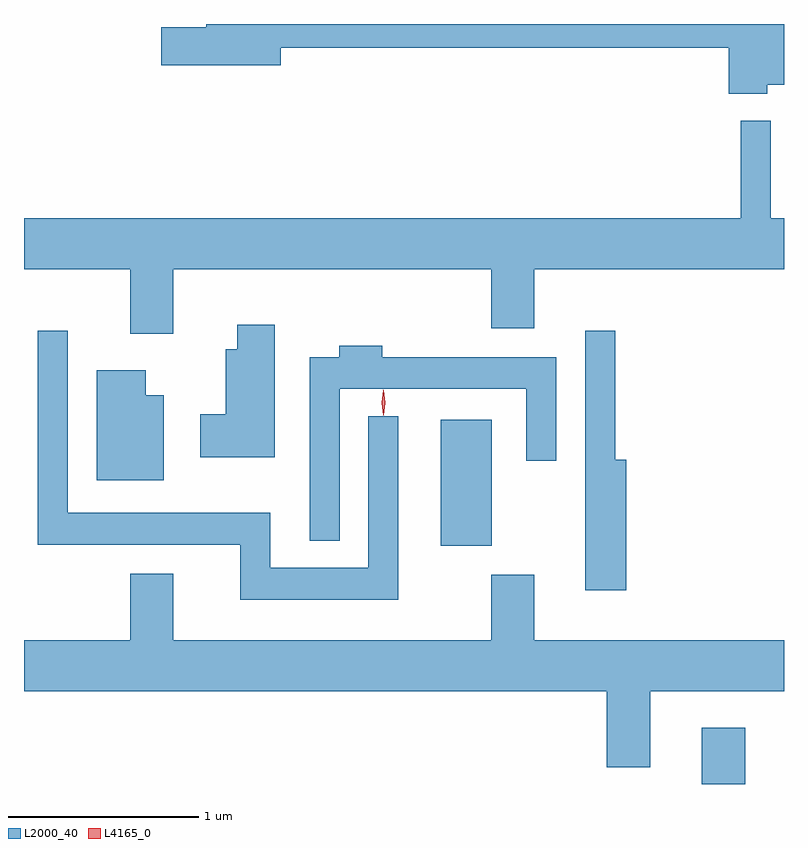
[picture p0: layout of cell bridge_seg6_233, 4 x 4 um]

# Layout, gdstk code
import gdstk
lib = gdstk.Library(unit=1e-6, precision=1e-09)
def R(c, l, rs):  # rectangles x0, y0, x1, y1
    for r in rs: c.add(gdstk.rectangle(r[:2], r[2:], *l))
def P(c, l, *ps):  # polygons
    for p in ps: c.add(gdstk.Polygon(p, *l))
L2000_40 = (2000, 40)
L4165_0 = (4165, 0)

bridge_seg6_233 = lib.new_cell('bridge_seg6_233')
R(bridge_seg6_233, L2000_40, [(1145.331,1549.547,1145.559,1549.844), (1143.956,1550.801,1144.224,1551.464)])
P(bridge_seg6_233, L2000_40, [(1145.674,1553.226),(1145.763,1553.226),(1145.763,1553.547),(1142.721,1553.547),(1142.721,1553.529),(1142.486,1553.529),(1142.486,1553.331),(1143.114,1553.331),(1143.114,1553.421),(1145.471,1553.421),(1145.471,1553.181),(1145.674,1553.181)],
  [(1142.549,1552.256),(1144.221,1552.256),(1144.221,1551.946),(1144.449,1551.946),(1144.449,1552.256),(1145.763,1552.256),(1145.763,1552.524),(1145.694,1552.524),(1145.694,1553.038),(1145.536,1553.038),(1145.536,1552.524),(1141.763,1552.524),(1141.763,1552.256),(1142.321,1552.256),(1142.321,1551.916),(1142.549,1551.916)],
  [(1143.084,1551.964),(1142.886,1551.964),(1142.886,1551.834),(1142.826,1551.834),(1142.826,1551.494),(1142.691,1551.494),(1142.691,1551.266),(1143.084,1551.266)],
  [(1143.734,1551.483),(1143.576,1551.483),(1143.576,1550.684),(1143.059,1550.684),(1143.059,1550.974),(1141.994,1550.974),(1141.994,1551.933),(1141.836,1551.933),(1141.836,1550.806),(1142.901,1550.806),(1142.901,1550.516),(1143.734,1550.516)],
  [(1144.934,1551.254),(1144.874,1551.254),(1144.874,1551.933),(1144.716,1551.933),(1144.716,1550.566),(1144.934,1550.566)],
  [(1143.424,1551.626),(1144.406,1551.626),(1144.406,1551.248),(1144.564,1551.248),(1144.564,1551.794),(1143.649,1551.794),(1143.649,1551.854),(1143.421,1551.854),(1143.421,1551.794),(1143.266,1551.794),(1143.266,1550.828),(1143.424,1550.828)],
  [(1142.499,1551.594),(1142.404,1551.594),(1142.404,1551.724),(1142.146,1551.724),(1142.146,1551.146),(1142.499,1551.146)],
  [(1144.831,1549.636),(1145.059,1549.636),(1145.059,1550.036),(1145.763,1550.036),(1145.763,1550.304),(1144.449,1550.304),(1144.449,1550.649),(1144.221,1550.649),(1144.221,1550.304),(1142.549,1550.304),(1142.549,1550.654),(1142.321,1550.654),(1142.321,1550.304),(1141.763,1550.304),(1141.763,1550.036),(1144.831,1550.036)])
P(bridge_seg6_233, L4165_0, [(1143.655,1551.487),(1143.655,1551.487),(1143.645,1551.554),(1143.655,1551.62),(1143.655,1551.621),(1143.656,1551.62),(1143.665,1551.554),(1143.656,1551.487)])

lib.write_gds('bridge_seg6_233.gds')
